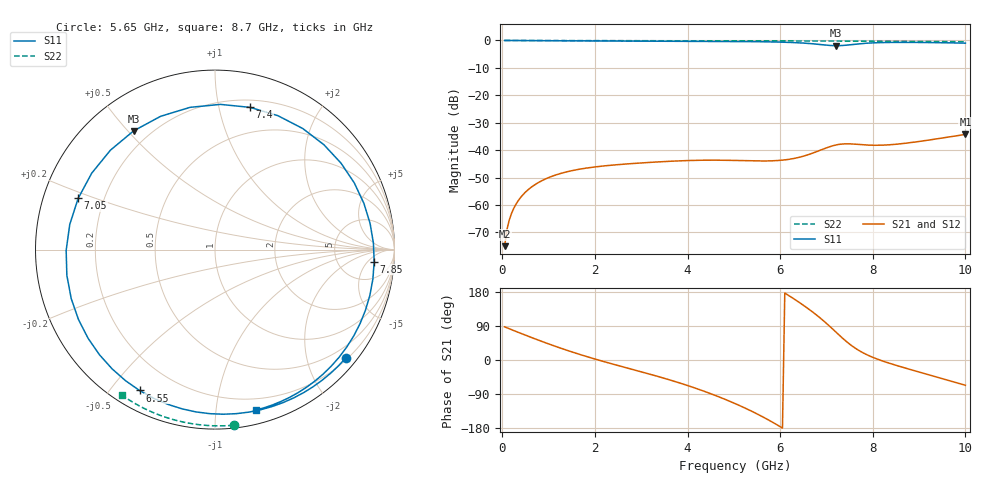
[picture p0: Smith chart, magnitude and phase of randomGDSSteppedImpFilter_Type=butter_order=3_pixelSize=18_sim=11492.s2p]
! freq	dB(S11)	phase(S11)	dB(S12)	phase(S12)
!  dB(S21)	phase(S21)	dB(S22)	phase(S22)
!S-par simulation data
#  GHz  S  DB  R 50
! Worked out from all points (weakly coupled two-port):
!   200 points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, 50 MHz to 10 GHz, reference 50 ohm
!   highest |S21| = -34.27 dB at 10 GHz (marker M1); lowest = -75.0 dB at 50 MHz (marker M2)
!   lowest |S11| = -1.9 dB at 7.2 GHz (marker M3), VSWR 9.09, Z = 7 + j25.9 ohm
!   |S11| at or under -10 dB: nowhere
!   |S22| runs from -0.5 to 0.0 dB; largest |S21 - S12| = 0
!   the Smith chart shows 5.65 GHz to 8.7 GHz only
!   S11 on the Smith chart (normalised r, x): 5.65 GHz: 0.24, -2.75; 6.55 GHz: 0.08, -0.60; 7.05 GHz: 0.11, +0.18; 7.4 GHz: 0.26, +1.24; 7.85 GHz: 12, -8; 8.7 GHz: 0.11, -1.28
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0.05  -0.00 -4.2  -75.04 87.5  -75.04 87.5  -0.00 -0.8
0.2  -0.02 -16.6  -63.06 80.0  -63.06 80.0  -0.00 -3.2
0.5  -0.05 -41.1  -55.34 65.5  -55.34 65.5  -0.01 -8.0
1.1  -0.11 -88.2  -49.38 38.1  -49.38 38.1  -0.02 -17.4
1.75  -0.15 -135.5  -46.73 11.8  -46.73 11.8  -0.04 -27.6
2.55  -0.18 169.8  -45.23 -16.3  -45.23 -16.3  -0.05 -39.8
3.4  -0.23 112.7  -44.27 -44.8  -44.27 -44.8  -0.07 -52.5
4.15  -0.28 62.0  -43.74 -73.5  -43.74 -73.5  -0.09 -63.3
5.05  -0.37 1.4  -43.79 -116.2  -43.79 -116.2  -0.12 -75.8
5.65  -0.48 -39.8  -43.97 -151.7  -43.97 -151.7  -0.14 -83.9
6.15  -0.68 -78.3  -43.46 172.9  -43.46 172.9  -0.16 -90.6
6.55  -1.01 -118.2  -41.97 140.3  -41.97 140.3  -0.18 -95.7
6.7  -1.21 -137.7  -41.12 126.8  -41.12 126.8  -0.19 -97.7
7.05  -1.79 159.5  -38.88 91.2  -38.88 91.2  -0.21 -102.1
7.2  -1.92 124.4  -38.14 74.2  -38.14 74.2  -0.22 -104.0
7.4  -1.76 76.1  -37.71 51.9  -37.71 51.9  -0.23 -106.5
7.6  -1.40 34.4  -37.81 33.0  -37.81 33.0  -0.25 -109.0
7.85  -1.02 -4.3  -38.12 15.2  -38.12 15.2  -0.26 -112.1
8.35  -0.72 -52.9  -38.07 -8.2  -38.07 -8.2  -0.30 -118.3
8.7  -0.70 -75.7  -37.51 -21.2  -37.51 -21.2  -0.33 -122.5
9.3  -0.78 -106.4  -36.11 -42.1  -36.11 -42.1  -0.39 -129.8
10  -0.99 -137.7  -34.27 -66.7  -34.27 -66.7  -0.47 -138.2
